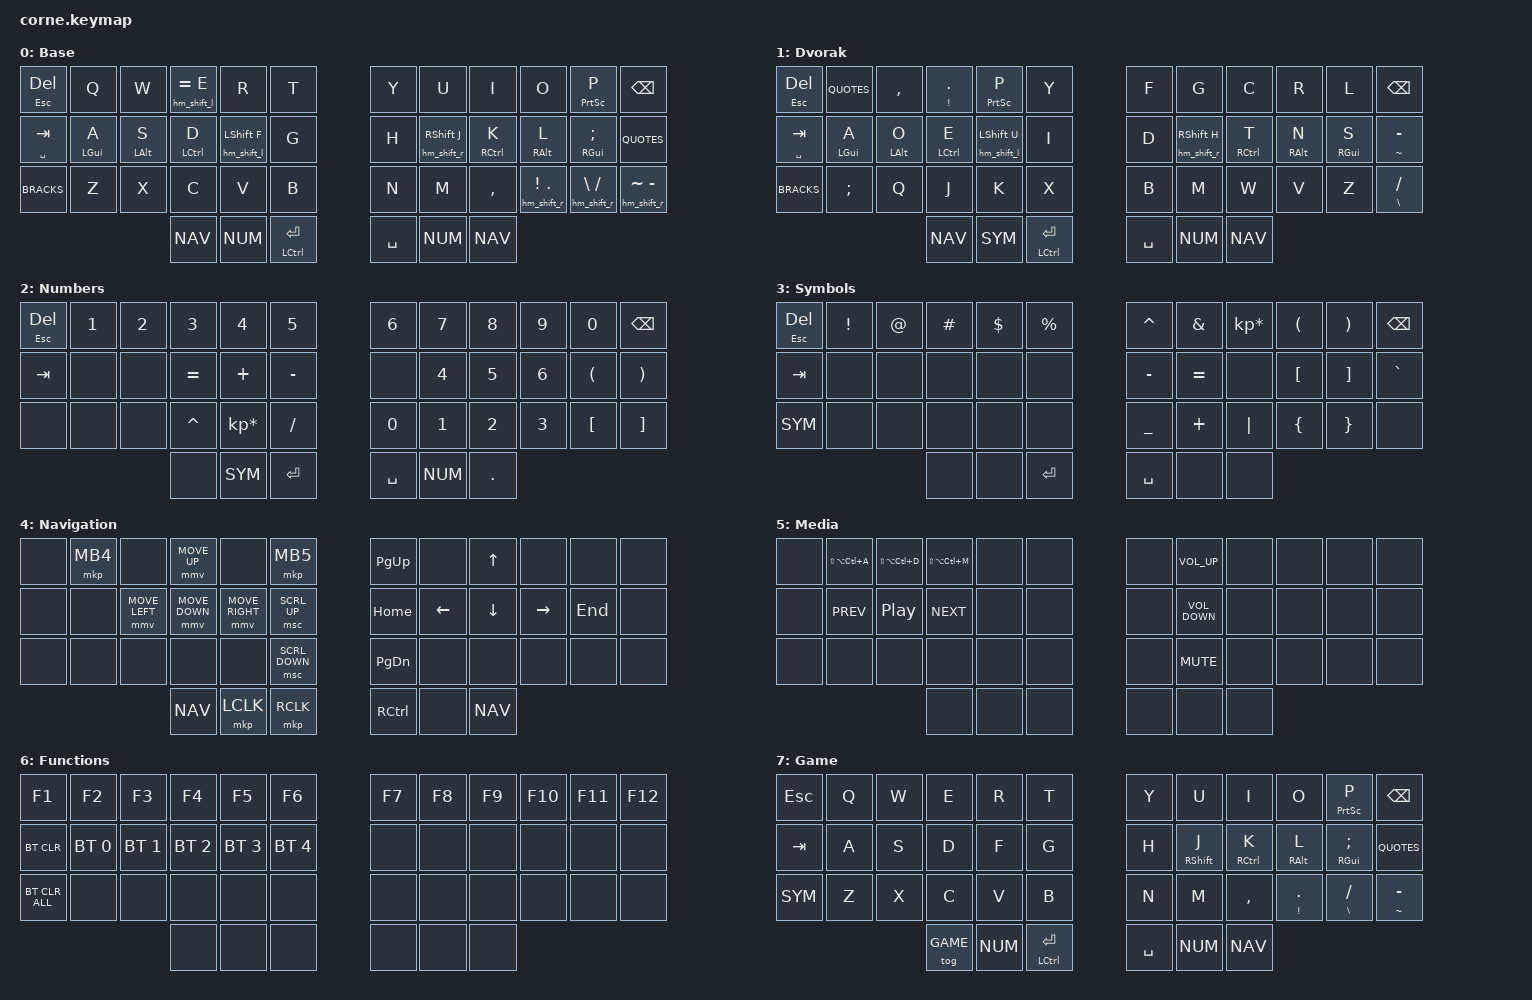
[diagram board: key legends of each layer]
/*
 * Copyright (c) 2020 The ZMK Contributors
 *
 * SPDX-License-Identifier: MIT
 * https://nickcoutsos.github.io/keymap-editor/
 */

//#define ZMK_POINTING_DEFAULT_MOVE_VAL 1000  // default: 600
//#define ZMK_POINTING_DEFAULT_SCRL_VAL 20    // default: 10


#include <behaviors.dtsi>
#include <dt-bindings/zmk/bt.h>
#include <dt-bindings/zmk/keys.h>
#include <dt-bindings/zmk/pointing.h>
#include "zmk-helpers/helper.h"

// Source desired key-position labels
#include "zmk-helpers/key-labels/42.h"



&mt {
        tapping-term-ms = <250>;
    };

&mmv {
  acceleration-exponent = <1>;      // 1
  time-to-max-speed-ms = <500>;    // 40
  delay-ms = <0>;                   // 0
};

&msc {
  acceleration-exponent = <1>;      // 0
  time-to-max-speed-ms = <5000>;    // 40
  delay-ms = <0>;                   // 10
};


#define KEYS_L LT0 LT1 LT2 LT3 LT4 LM0 LM1 LM2 LM3 LM4 LB0 LB1 LB2 LB3 LB4
#define KEYS_R RT0 RT1 RT2 RT3 RT4 RM0 RM1 RM2 RM3 RM4 RB0 RB1 RB2 RB3 RB4
#define KEYS_T LH2 LH1 LH0 RH0 RH1 RH2

#define BASE 0
#define DVORAK 1
#define NUMBERS 2
#define SYMBOLS 3
#define NAVIGATION 4
#define MEDIA 5
#define FUNCTION 6
#define GAME 7

#include "includes/settings.dtsi"
#include "includes/conditional_layers.dtsi"
#include "includes/macros.dtsi"

#include "includes/behaviors_homerow_mods.dtsi"

#include "includes/custom_behaviors.dtsi"
#include "includes/combos.dtsi"




/ {


    keymap {
        compatible = "zmk,keymap";

        base {
            display-name = "Base";
            bindings = <
                // ╭────────────────────────┬────────────────────────┬────────────────────────┬────────────────────────┬────────────────────────┬────────────────────────╮    ╭────────────────────────┬────────────────────────┬────────────────────────┬───────────────────────┬────────────────────────┬────────────────────────╮
                        &hm_l ESCAPE DEL              &kp Q                     &kp W               &hm_shift_l EQUAL E                 &kp R                   &kp T                         &kp Y                   &kp U                  &kp I                    &kp O               &hm_r PRINTSCREEN P         &kp BSPC
                // ├────────────────────────┼────────────────────────┼────────────────────────┼────────────────────────┼────────────────────────┼────────────────────────┤    ├────────────────────────┼────────────────────────┼────────────────────────┼───────────────────────┼────────────────────────┼────────────────────────┤
                        &hm_l SPACE TAB         &hm_l LEFT_GUI A        &hm_l LEFT_ALT S        &hm_l LEFT_CONTROL D    &hm_shift_l LEFT_SHIFT F            &kp G                         &kp H         &hm_shift_r RIGHT_SHIFT J  &hm_r RIGHT_CONTROL K      &hm_r RIGHT_ALT L      &hm_r RIGHT_GUI SEMI       &QUOTES
                // ├────────────────────────┼────────────────────────┼────────────────────────┼────────────────────────┼────────────────────────┼────────────────────────┤    ├────────────────────────┼────────────────────────┼────────────────────────┼───────────────────────┼────────────────────────┼────────────────────────┤
                            &BRACKS                      &kp Z                     &kp X                 &kp C                       &kp V                   &kp B                         &kp N                   &kp M                  &kp COMMA                &hm_shift_r EXCL DOT       &hm_shift_r BACKSLASH FSLH       &hm_shift_r TILDE MINUS   
                // ╰────────────────────────┴────────────────────────┴────────────────────────┴────────────────────────┼────────────────────────┼────────────────────────┤    ├────────────────────────┼────────────────────────┼────────────────────────┼───────────────────────┼────────────────────────┼────────────────────────╯
                                                                                                      &NAV                    &NUM                &hm_l LCTRL ENTER                 &kp SPACE               &NUM                    &NAV    
                //                                                                            ╰────────────────────────┴────────────────────────┴────────────────────────╯    ╰────────────────────────┴────────────────────────┴────────────────────────╯
            >;
        };

        dvorak {
            display-name = "Dvorak";
            bindings = <
                // ╭────────────────────────┬────────────────────────┬────────────────────────┬────────────────────────┬────────────────────────┬────────────────────────╮    ╭────────────────────────┬────────────────────────┬────────────────────────┬───────────────────────┬────────────────────────┬────────────────────────╮
                        &hm_l ESCAPE DEL        &QUOTES                     &kp COMMA               &hm_l EXCL DOT        &hm_l PRINTSCREEN P           &kp Y                           &kp F                   &kp G                     &kp C                    &kp R                    &kp L                  &kp BSPC
                // ├────────────────────────┼────────────────────────┼────────────────────────┼────────────────────────┼────────────────────────┼────────────────────────┤    ├────────────────────────┼────────────────────────┼────────────────────────┼───────────────────────┼────────────────────────┼────────────────────────┤
                        &hm_l SPACE TAB         &hm_l LEFT_GUI A        &hm_l LEFT_ALT O        &hm_l LEFT_CONTROL E    &hm_shift_l LEFT_SHIFT U          &kp I                           &kp D         &hm_shift_r RIGHT_SHIFT H  &hm_r RIGHT_CONTROL T      &hm_r RIGHT_ALT N      &hm_r RIGHT_GUI S          &hm_r TILDE MINUS
                // ├────────────────────────┼────────────────────────┼────────────────────────┼────────────────────────┼────────────────────────┼────────────────────────┤    ├────────────────────────┼────────────────────────┼────────────────────────┼───────────────────────┼────────────────────────┼────────────────────────┤
                            &BRACKS                &kp SEMI                    &kp Q                       &kp J                      &kp K                &kp X                           &kp B                   &kp M                     &kp W                    &kp V                    &kp Z              &hm_r BACKSLASH FSLH
                // ╰────────────────────────┴────────────────────────┴────────────────────────┴────────────────────────┼────────────────────────┼────────────────────────┤    ├────────────────────────┼────────────────────────┼────────────────────────┼───────────────────────┼────────────────────────┼────────────────────────╯
                                                                                                      &NAV                      &SYM             &hm_l LCTRL ENTER                   &kp SPACE                 &NUM                      &NAV    
                //                                                                            ╰────────────────────────┴────────────────────────┴────────────────────────╯    ╰────────────────────────┴────────────────────────┴────────────────────────╯
            >;
        };

        numbers {
            display-name = "Numbers";
            bindings = <
                // ╭────────────────────────┬────────────────────────┬────────────────────────┬────────────────────────┬────────────────────────┬────────────────────────╮    ╭────────────────────────┬────────────────────────┬────────────────────────┬───────────────────────┬────────────────────────┬────────────────────────╮
                         &mt ESCAPE DEL               &kp N1                    &kp N2                  &kp N3                  &kp N4                    &kp N5                       &kp N6                   &kp N7                     &kp N8                  &kp N9                   &kp N0                &kp BSPC
                // ├────────────────────────┼────────────────────────┼────────────────────────┼────────────────────────┼────────────────────────┼────────────────────────┤    ├────────────────────────┼────────────────────────┼────────────────────────┼───────────────────────┼────────────────────────┼────────────────────────┤
                            &kp TAB                   &none                     &none                   &kp EQUAL               &kp PLUS                 &kp MINUS                     &none                  &kp NUMBER_4                 &kp N5               &kp NUMBER_6        &kp LEFT_PARENTHESIS    &kp RIGHT_PARENTHESIS
                // ├────────────────────────┼────────────────────────┼────────────────────────┼────────────────────────┼────────────────────────┼────────────────────────┤    ├────────────────────────┼────────────────────────┼────────────────────────┼───────────────────────┼────────────────────────┼────────────────────────┤
                            &none                     &none                     &none                   &kp CARET            &kp KP_MULTIPLY             &kp SLASH                     &kp N0                 &kp NUMBER_1              &kp NUMBER_2            &kp NUMBER_3           &kp LEFT_BRACKET      &kp RIGHT_BRACKET
                // ╰────────────────────────┴────────────────────────┴────────────────────────┴────────────────────────┼────────────────────────┼────────────────────────┤    ├────────────────────────┼────────────────────────┼────────────────────────┼───────────────────────┼────────────────────────┼────────────────────────╯
                                                                                                        &none                   &SYM                      &kp ENTER                 &kp SPACE                   &NUM                     &kp PERIOD
                //                                                                            ╰────────────────────────┴────────────────────────┴────────────────────────╯    ╰────────────────────────┴────────────────────────┴────────────────────────╯
            >;
        };

        symbols {
            display-name = "Symbols";
            bindings = <
                // ╭────────────────────────┬────────────────────────┬────────────────────────┬────────────────────────┬────────────────────────┬────────────────────────╮    ╭────────────────────────┬────────────────────────┬────────────────────────┬───────────────────────┬────────────────────────┬────────────────────────╮
                          &mt ESCAPE DEL            &kp EXCL                &kp AT                      &kp HASH                &kp DLLR                &kp PRCNT                       &kp CARET               &kp AMPS               &kp KP_MULTIPLY              &kp LPAR                &kp RPAR                &kp BSPC
                // ├────────────────────────┼────────────────────────┼────────────────────────┼────────────────────────┼────────────────────────┼────────────────────────┤    ├────────────────────────┼────────────────────────┼────────────────────────┼───────────────────────┼────────────────────────┼────────────────────────┤
                            &kp TAB                 &none                   &none                       &none                   &none                   &none                           &kp MINUS               &kp EQUAL                   &none               &kp LEFT_BRACKET        &kp RIGHT_BRACKET           &kp GRAVE
                // ├────────────────────────┼────────────────────────┼────────────────────────┼────────────────────────┼────────────────────────┼────────────────────────┤    ├────────────────────────┼────────────────────────┼────────────────────────┼───────────────────────┼────────────────────────┼────────────────────────┤
                            &SYM                    &none                   &none                       &none                   &none                   &none                           &kp UNDER               &kp PLUS                    &kp PIPE                &kp LBRC                &kp RBRC                &none
                // ╰────────────────────────┴────────────────────────┴────────────────────────┴────────────────────────┼────────────────────────┼────────────────────────┤    ├────────────────────────┼────────────────────────┼────────────────────────┼───────────────────────┼────────────────────────┼────────────────────────╯
                                                                                                        &none                   &none                   &kp ENTER                       &kp SPACE               &none                       &none
                //                                                                            ╰────────────────────────┴────────────────────────┴────────────────────────╯    ╰────────────────────────┴────────────────────────┴────────────────────────╯
            >;
        };

        navigation {
            display-name = "Navigation";
            bindings = <
                // ╭────────────────────────┬────────────────────────┬────────────────────────┬────────────────────────┬────────────────────────┬────────────────────────╮    ╭────────────────────────┬────────────────────────┬────────────────────────┬───────────────────────┬────────────────────────┬────────────────────────╮
                            &none                   &mkp MB4                    &none                   &mmv MOVE_UP            &none                   &mkp MB5                    &kp PAGE_UP                 &none                   &kp UP_ARROW                &none                   &none                   &none
                // ├────────────────────────┼────────────────────────┼────────────────────────┼────────────────────────┼────────────────────────┼────────────────────────┤    ├────────────────────────┼────────────────────────┼────────────────────────┼───────────────────────┼────────────────────────┼────────────────────────┤
                            &none                   &none                   &mmv MOVE_LEFT              &mmv MOVE_DOWN          &mmv MOVE_RIGHT         &msc SCRL_UP                &kp HOME                    &kp LEFT                &kp DOWN                    &kp RIGHT               &kp END                 &none
                // ├────────────────────────┼────────────────────────┼────────────────────────┼────────────────────────┼────────────────────────┼────────────────────────┤    ├────────────────────────┼────────────────────────┼────────────────────────┼───────────────────────┼────────────────────────┼────────────────────────┤
                            &none                   &none                       &none                   &none                   &none                   &msc SCRL_DOWN              &kp PAGE_DOWN               &none                   &none                       &none                   &none                   &none
                // ╰────────────────────────┴────────────────────────┴────────────────────────┴────────────────────────┼────────────────────────┼────────────────────────┤    ├────────────────────────┼────────────────────────┼────────────────────────┼───────────────────────┼────────────────────────┼────────────────────────╯
                                                                                                        &NAV                    &mkp LCLK               &mkp RCLK                   &kp RCTRL                   &none                   &NAV
                //                                                                            ╰────────────────────────┴────────────────────────┴────────────────────────╯    ╰────────────────────────┴────────────────────────┴────────────────────────╯
            >;
        };

        media {
            display-name = "Media";
            bindings = <
                // ╭────────────────────────┬────────────────────────┬────────────────────────┬────────────────────────┬────────────────────────┬────────────────────────╮    ╭────────────────────────┬────────────────────────┬────────────────────────┬───────────────────────┬────────────────────────┬────────────────────────╮
                            &none               &kp LS(LA(LC(A)))       &kp LS(LA(LC(D)))           &kp LS(LA(LC(M)))           &none                   &none                           &none               &kp C_VOLUME_UP                 &none               &none                   &none                   &none
                // ├────────────────────────┼────────────────────────┼────────────────────────┼────────────────────────┼────────────────────────┼────────────────────────┤    ├────────────────────────┼────────────────────────┼────────────────────────┼───────────────────────┼────────────────────────┼────────────────────────┤
                            &none                   &kp C_PREV          &kp C_PLAY_PAUSE            &kp C_NEXT                  &none                   &none                           &none               &kp C_VOLUME_DOWN               &none               &none                   &none                   &none
                // ├────────────────────────┼────────────────────────┼────────────────────────┼────────────────────────┼────────────────────────┼────────────────────────┤    ├────────────────────────┼────────────────────────┼────────────────────────┼───────────────────────┼────────────────────────┼────────────────────────┤
                            &none                   &none                   &none                       &none                   &none                   &none                           &none               &kp C_MUTE                      &none               &none                   &none                   &none
                // ╰────────────────────────┴────────────────────────┴────────────────────────┴────────────────────────┼────────────────────────┼────────────────────────┤    ├────────────────────────┼────────────────────────┼────────────────────────┼───────────────────────┼────────────────────────┼────────────────────────╯
                                                                                                        &none                   &none                   &none                           &none                   &none                       &none
                //                                                                            ╰────────────────────────┴────────────────────────┴────────────────────────╯    ╰────────────────────────┴────────────────────────┴────────────────────────╯
            >;
        };

        function {
            display-name = "Functions";
            bindings = <
                // ╭────────────────────────┬────────────────────────┬────────────────────────┬────────────────────────┬────────────────────────┬────────────────────────╮    ╭────────────────────────┬────────────────────────┬────────────────────────┬───────────────────────┬────────────────────────┬────────────────────────╮
                            &kp F1                  &kp F2                  &kp F3                      &kp F4                  &kp F5                  &kp F6                          &kp F7                  &kp F8                  &kp F9                  &kp F10                 &kp F11                 &kp F12
                // ├────────────────────────┼────────────────────────┼────────────────────────┼────────────────────────┼────────────────────────┼────────────────────────┤    ├────────────────────────┼────────────────────────┼────────────────────────┼───────────────────────┼────────────────────────┼────────────────────────┤
                            &bt BT_CLR              &bt BT_SEL 0            &bt BT_SEL 1           &bt BT_SEL 2             &bt BT_SEL 3            &bt BT_SEL 4                        &none                   &none                   &none                   &none                   &none                   &none
                // ├────────────────────────┼────────────────────────┼────────────────────────┼────────────────────────┼────────────────────────┼────────────────────────┤    ├────────────────────────┼────────────────────────┼────────────────────────┼───────────────────────┼────────────────────────┼────────────────────────┤
                        &bt BT_CLR_ALL              &none                   &none                       &none                   &none                   &none                           &none                   &none                   &none                   &none                   &none                   &none
                // ╰────────────────────────┴────────────────────────┴────────────────────────┴────────────────────────┼────────────────────────┼────────────────────────┤    ├────────────────────────┼────────────────────────┼────────────────────────┼───────────────────────┼────────────────────────┼────────────────────────╯
                                                                                                        &none                   &none                   &none                           &none                   &none                   &none
                //                                                                            ╰────────────────────────┴────────────────────────┴────────────────────────╯    ╰────────────────────────┴────────────────────────┴────────────────────────╯
            >;
        };

        game {
            display-name = "Game";
            bindings = <
                // ╭────────────────────────┬────────────────────────┬────────────────────────┬────────────────────────┬────────────────────────┬────────────────────────╮    ╭────────────────────────┬────────────────────────┬────────────────────────┬───────────────────────┬────────────────────────┬────────────────────────╮
                            &kp ESCAPE                 &kp Q                   &kp W                   &kp E                   &kp R                    &kp T                         &kp Y                   &kp U                  &kp I                    &kp O               &hm_r PRINTSCREEN P         &kp BSPC
                // ├────────────────────────┼────────────────────────┼────────────────────────┼────────────────────────┼────────────────────────┼────────────────────────┤    ├────────────────────────┼────────────────────────┼────────────────────────┼───────────────────────┼────────────────────────┼────────────────────────┤
                            &kp TAB                    &kp A                   &kp S                   &kp D                   &kp F                    &kp G                         &kp H               &hm_r RIGHT_SHIFT J    &hm_r RIGHT_CONTROL K      &hm_r RIGHT_ALT L      &hm_r RIGHT_GUI SEMI       &QUOTES
                // ├────────────────────────┼────────────────────────┼────────────────────────┼────────────────────────┼────────────────────────┼────────────────────────┤    ├────────────────────────┼────────────────────────┼────────────────────────┼───────────────────────┼────────────────────────┼────────────────────────┤
                            &SYM                       &kp Z                   &kp X                   &kp C                   &kp V                    &kp B                         &kp N                   &kp M                  &kp COMMA                &hm_r EXCL DOT       &hm_r BACKSLASH FSLH       &hm_r TILDE MINUS   
                // ╰────────────────────────┴────────────────────────┴────────────────────────┴────────────────────────┼────────────────────────┼────────────────────────┤    ├────────────────────────┼────────────────────────┼────────────────────────┼───────────────────────┼────────────────────────┼────────────────────────╯
                                                                                                    &tog GAME                  &NUM                    &hm_l LCTRL ENTER                 &kp SPACE               &NUM                    &NAV    
                //                                                                            ╰────────────────────────┴────────────────────────┴────────────────────────╯    ╰────────────────────────┴────────────────────────┴────────────────────────╯
            >;
        };
    };
};
